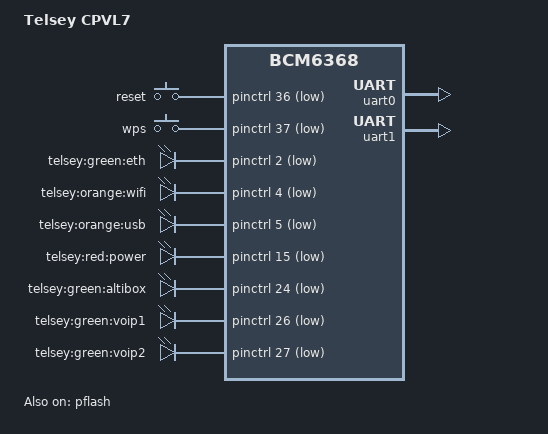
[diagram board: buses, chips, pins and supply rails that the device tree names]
/dts-v1/;

#include "bcm6368.dtsi"

#include <dt-bindings/gpio/gpio.h>
#include <dt-bindings/input/input.h>

/ {
	model = "Telsey CPVL7";
	compatible = "telsey,cpvl7", "brcm,bcm6368";

	chosen {
		bootargs = "rootfstype=squashfs noinitrd console=ttyS0,115200";
		stdout-path = "serial0:115200n8";
	};

	gpio-keys-polled {
		compatible = "gpio-keys-polled";
		#address-cells = <1>;
		#size-cells = <0>;
		poll-interval = <20>;
		debounce-interval = <60>;

		reset {
			label = "reset";
			gpios = <&pinctrl 36 GPIO_ACTIVE_LOW>;
			linux,code = <KEY_RESTART>;
		};

		wps {
			label = "wps";
			gpios = <&pinctrl 37 GPIO_ACTIVE_LOW>;
			linux,code = <KEY_WPS_BUTTON>;
		};
	};

	gpio-leds {
		compatible = "gpio-leds";

		eth {
			label = "telsey:green:eth";
			gpios = <&pinctrl 2 GPIO_ACTIVE_LOW>;
		};

		wifi {
			label = "telsey:orange:wifi";
			gpios = <&pinctrl 4 GPIO_ACTIVE_LOW>;
		};

		usb {
			label = "telsey:orange:usb";
			gpios = <&pinctrl 5 GPIO_ACTIVE_LOW>;
		};

		power_red {
			label = "telsey:red:power";
			gpios = <&pinctrl 15 GPIO_ACTIVE_LOW>;
			default-state = "on";
		};

		altibox {
			label = "telsey:green:altibox";
			gpios = <&pinctrl 24 GPIO_ACTIVE_LOW>;
		};

		voip1 {
			label = "telsey:green:voip1";
			gpios = <&pinctrl 26 GPIO_ACTIVE_LOW>;
		};

		voip2 {
			label = "telsey:green:voip2";
			gpios = <&pinctrl 27 GPIO_ACTIVE_LOW>;
		};
	};
};

&pflash {
	status = "ok";

	linux,part-probe = "bcm63xxpart";
};

&uart0 {
	status = "ok";
};

&uart1 {
	status = "ok";
};
